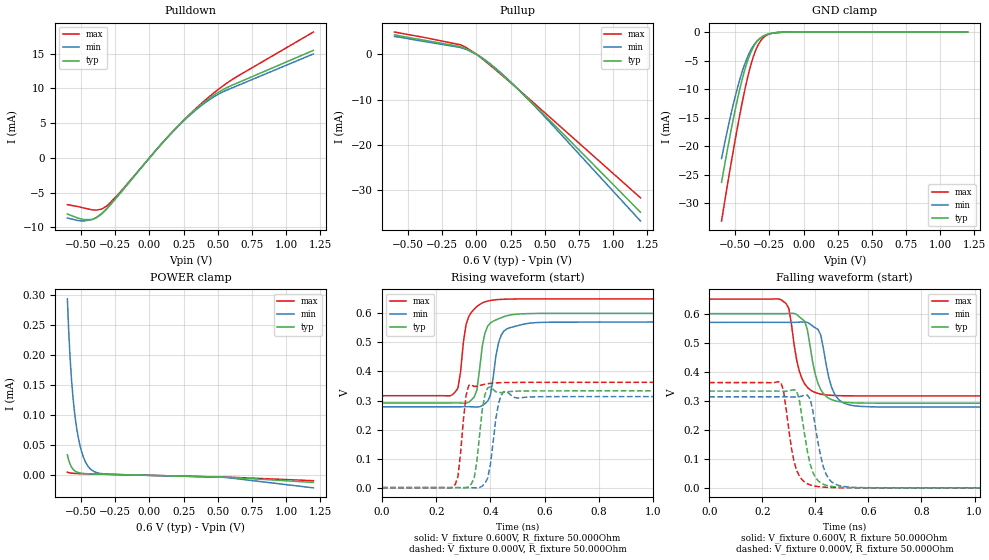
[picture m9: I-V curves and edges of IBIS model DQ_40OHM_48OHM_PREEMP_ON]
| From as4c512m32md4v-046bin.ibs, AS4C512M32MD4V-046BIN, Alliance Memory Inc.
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|   MODEL: DQ_40OHM_48OHM_PREEMP_ON
[Model]   DQ_40OHM_48OHM_PREEMP_ON
Model_type   I/O
Polarity   Non-Inverting
Enable   Active-High
Vinl   = 0.080V
Vinh   = 0.220V
Vmeas   = 0.150V
Vref   = 0.150V
Cref   = 0.000pF
Rref   = 50.000Ohm
|   typ   min   max
C_comp   0.875pF   0.788pF   0.963pF
[Voltage Range]   0.600V   0.570V   0.650V
[Temperature Range]   25.0   95.0   -40.0
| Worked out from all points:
|   slope of the pulldown table from 0 to 0.09 V, typ, clamps not added: 43.5 ohm
|   slope of the pullup table from 0 to 0.09 V, typ, clamps not added: 44.8 ohm
|   GND clamp passes 1 mA (typ) near -0.31 V on its own axis
|   rising waveform, V_fixture 0.600V, R_fixture 50.000Ohm: 20-80 % time 29.9ps typ, 31.8ps min, 31ps max; typ from 0.292 V to 0.6 V
|   falling waveform, V_fixture 0.600V, R_fixture 50.000Ohm: 20-80 % time 42ps typ, 42.5ps min, 40.6ps max; typ from 0.6 V to 0.292 V
|   rising waveform, V_fixture 0.000V, R_fixture 50.000Ohm: 20-80 % time 23.9ps typ, 26.2ps min, 22.7ps max; typ from 0 V to 0.333 V
|   falling waveform, V_fixture 0.000V, R_fixture 50.000Ohm: 20-80 % time 40ps typ, 41ps min, 38.6ps max; typ from 0.333 V to 0 V
[Pulldown]
|   Voltage   I(typ)   I(min)   I(max)
-600mV    -8.067mA   -8.641mA   -6.714mA
-480mV    -8.867mA   -9.068mA   -7.191mA
-420mV    -8.855mA   -8.859mA   -7.459mA
-350mV    -8.079mA   -7.999mA   -7.36mA
-310mV    -7.301mA   -7.234mA   -6.891mA
-230mV    -5.468mA   -5.432mA   -5.289mA
130mV     2.946mA    2.91mA     2.912mA
270mV     5.771mA    5.683mA    5.784mA
400mV     7.996mA    7.828mA    8.169mA
490mV     9.253mA    8.998mA    9.638mA
580mV     10.23mA    9.864mA    10.93mA
1.2V      15.47mA    14.96mA    18.11mA
[Pullup]
|   Voltage   I(typ)   I(min)   I(max)
-600mV    4.267mA    3.904mA    4.889mA
-120mV    1.7mA      1.495mA    2.101mA
-80mV     1.289mA    1.134mA    1.562mA
0V        0A         0A         0A
80mV      -1.767mA   -1.632mA   -1.932mA
220mV     -5.374mA   -5.228mA   -5.492mA
410mV     -10.79mA   -10.91mA   -10.49mA
1.2V      -34.79mA   -36.73mA   -31.61mA
[GND Clamp]
|   Voltage   I(typ)   I(min)   I(max)
-600mV    -26.36mA   -22.19mA   -33.14mA
-550mV    -19.73mA   -16.43mA   -25.84mA
-510mV    -14.79mA   -12.27mA   -20.24mA
-470mV    -10.36mA   -8.615mA   -14.96mA
-430mV    -6.627mA   -5.609mA   -10.17mA
-390mV    -3.805mA   -3.349mA   -6.151mA
-360mV    -2.341mA   -2.151mA   -3.819mA
-320mV    -1.14mA    -1.122mA   -1.755mA
-280mV    -524.1uA   -555.5uA   -715.7uA
-230mV    -184.4uA   -215.6uA   -213.3uA
-140mV    -20.29uA   -29.99uA   -17.96uA
1.2V      6.836uA    7.386uA    6.714uA
[POWER Clamp]
|   Voltage   I(typ)   I(min)   I(max)
-600mV    34.27uA    294.1uA    5.169uA
-590mV    25uA       238.9uA    4.47uA
-570mV    13.84uA    160.6uA    3.674uA
-560mV    10.58uA    132.6uA    3.444uA
-540mV    6.655uA    91.24uA    3.146uA
-520mV    4.678uA    62.84uA    2.957uA
-490mV    3.339uA    35.2uA     2.748uA
-460mV    2.772uA    19.1uA     2.569uA
-420mV    2.39uA     8.47uA     2.342uA
-300mV    1.671uA    1.938uA    1.671uA
560mV     -3.13uA    -3.595uA   -3.086uA
1.2V      -11.8uA    -20.82uA   -8.926uA
[Ramp]
R_load = 50.000Ohm
|   typ   min   max
dV/dt_r   0.185V/30.000ps   0.175V/30.000ps   0.200V/30.000ps
dV/dt_f   0.185V/40.000ps   0.175V/40.000ps   0.200V/40.000ps
|Slew_r   6.169V/ns   5.833V/ns   6.670V/ns
|Slew_f   4.625V/ns   4.373V/ns   5.001V/ns
[Rising Waveform]
V_fixture = 0.600V
V_fixture_min = 0.570V
V_fixture_max = 0.650V
R_fixture = 50.000Ohm
L_fixture = 0.000nH
C_fixture = 0.000pF
|dV/dt_r   0.185V/30.000ps   0.175V/30.000ps   0.200V/30.000ps
|Slew_r   6.169V/ns   5.833V/ns   6.670V/ns
|   Time   V(typ)   V(min)   V(max)
0s        291.5mV    278.3mV    316.5mV
260ps     291.7mV    278.4mV    320.2mV
280ps     291.7mV    278.4mV    343.1mV
320ps     294.1mV    278.5mV    589mV
350ps     336mV      277.8mV    623.6mV
370ps     486.6mV    282.5mV    636mV
390ps     556.1mV    297.7mV    642.5mV
430ps     581.4mV    499mV      647.8mV
610ps     599.9mV    569.5mV    650mV
5ns       600mV      570mV      650mV
[Falling Waveform]
V_fixture = 0.600V
V_fixture_min = 0.570V
V_fixture_max = 0.650V
R_fixture = 50.000Ohm
L_fixture = 0.000nH
C_fixture = 0.000pF
|dV/dt_f   0.185V/40.000ps   0.175V/40.000ps   0.200V/40.000ps
|Slew_f   4.625V/ns   4.373V/ns   5.001V/ns
|   Time   V(typ)   V(min)   V(max)
0s        599.9mV    569.9mV    649.9mV
270ps     600mV      570mV      648.3mV
300ps     600.8mV    570mV      617.3mV
330ps     596.5mV    570.2mV    437.5mV
360ps     573.7mV    571.3mV    357.7mV
410ps     359.4mV    545.9mV    325.1mV
460ps     304.3mV    349.4mV    318.7mV
510ps     294.6mV    291mV      317.1mV
620ps     291.7mV    279mV      316.6mV
5ns       291.6mV    278.4mV    316.5mV
[Rising Waveform]
V_fixture = 0.000V
V_fixture_min = 0.000V
V_fixture_max = 0.000V
R_fixture = 50.000Ohm
L_fixture = 0.000nH
C_fixture = 0.000pF
|dV/dt_r   0.200V/20.000ps   0.188V/30.000ps   0.218V/20.000ps
|Slew_r   9.998V/ns   6.268V/ns   10.875V/ns
|   Time   V(typ)   V(min)   V(max)
0s        4.382uV    13.02uV    1.859uV
270ps     132.8uV    13.29uV    10.83mV
280ps     26.61uV    18.24uV    37.55mV
320ps     3.066mV    5.944uV    352.3mV
340ps     33.43mV    -642.4uV   348.4mV
380ps     320.7mV    15.23mV    356.2mV
410ps     338.3mV    155.8mV    360mV
430ps     327.1mV    290.1mV    361.1mV
450ps     328.5mV    330.5mV    361.7mV
5ns       333.3mV    313.4mV    362.5mV
[Falling Waveform]
V_fixture = 0.000V
V_fixture_min = 0.000V
V_fixture_max = 0.000V
R_fixture = 50.000Ohm
L_fixture = 0.000nH
C_fixture = 0.000pF
|dV/dt_f   0.200V/40.000ps   0.188V/40.000ps   0.217V/40.000ps
|Slew_f   4.998V/ns   4.700V/ns   5.437V/ns
|   Time   V(typ)   V(min)   V(max)
0s        333.2mV    313.4mV    362.5mV
270ps     333mV      313.5mV    362.7mV
280ps     332.7mV    313.5mV    335mV
310ps     336.4mV    312.9mV    135.6mV
330ps     332.1mV    312.9mV    59.01mV
380ps     82.49mV    306.7mV    10.17mV
430ps     12.28mV    72.46mV    2.58mV
470ps     3.741mV    15.2mV     940.4uV
580ps     260.4uV    786.5uV    111.5uV
5ns       4.824uV    13.47uV    2.367uV
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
